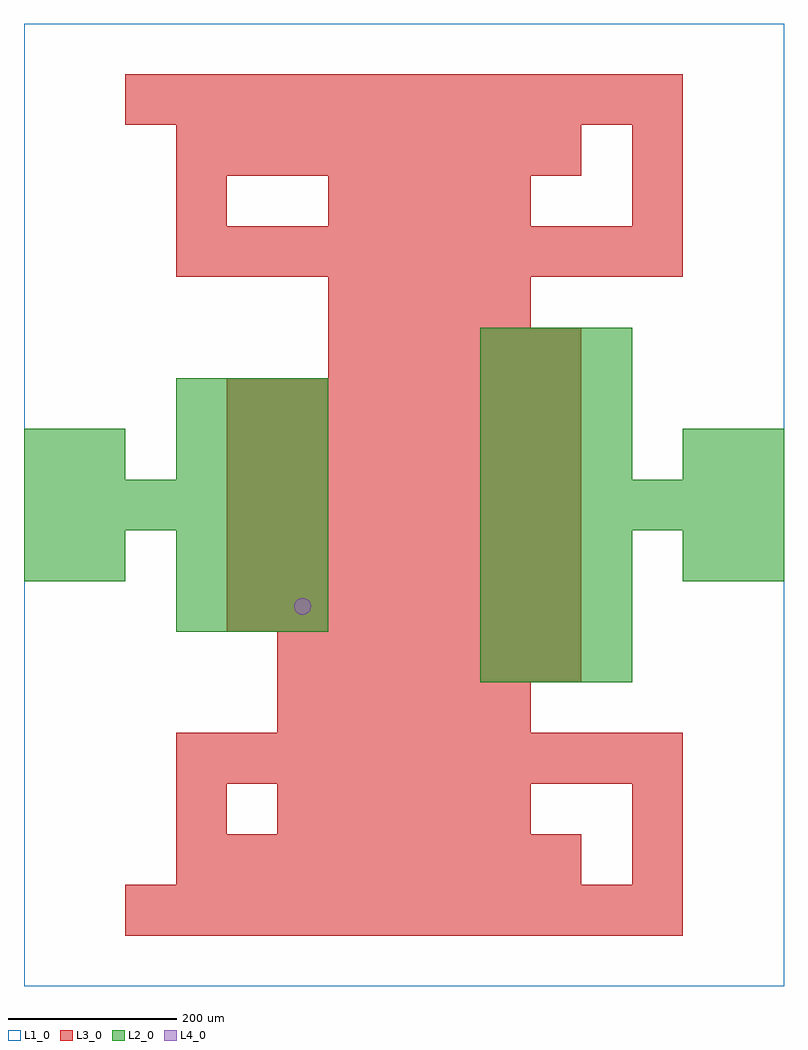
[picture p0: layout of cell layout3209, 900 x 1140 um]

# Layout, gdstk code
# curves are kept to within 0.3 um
import gdstk
lib = gdstk.Library(unit=1e-6, precision=1e-09)
def R(c, l, rs):  # rectangles x0, y0, x1, y1
    for r in rs: c.add(gdstk.rectangle(r[:2], r[2:], *l))
def A(c, l, x, y, w, h, nx, ny, dx, dy):  # array of equal rectangles
    R(c, l, [(x+i*dx, y+j*dy, x+i*dx+w, y+j*dy+h) for i in range(nx) for j in range(ny)])
def P(c, l, *ps):  # polygons
    for p in ps: c.add(gdstk.Polygon(p, *l))
L1_0 = (1, 0)
L2_0 = (2, 0)
L3_0 = (3, 0)
L4_0 = (4, 0)

layout3209 = lib.new_cell('layout3209')
R(layout3209, L1_0, [(0,0,900,1140)])
A(layout3209, L2_0, 540, 360, 60, 60, 3, 3, 60, 60)
A(layout3209, L2_0, 180, 420, 60, 60, 3, 2, 60, 60)
A(layout3209, L2_0, 0, 540, 60, 60, 6, 1, 60, 0)
A(layout3209, L2_0, 540, 540, 60, 60, 6, 1, 60, 0)
A(layout3209, L2_0, 180, 600, 60, 60, 3, 2, 60, 60)
A(layout3209, L2_0, 540, 600, 60, 60, 3, 3, 60, 60)
R(layout3209, L2_0, [(0,480,60,540), (60,480,120,540), (780,480,840,540), (840,480,900,540), (0,600,60,660), (60,600,120,660), (780,600,840,660), (840,600,900,660)])
A(layout3209, L3_0, 120, 60, 60, 60, 11, 2, 60, 960)
A(layout3209, L3_0, 180, 120, 60, 60, 8, 2, 60, 840)
A(layout3209, L3_0, 300, 180, 60, 60, 5, 2, 60, 120)
A(layout3209, L3_0, 180, 240, 60, 60, 10, 2, 60, 600)
A(layout3209, L3_0, 300, 360, 60, 60, 6, 1, 60, 0)
A(layout3209, L3_0, 240, 420, 60, 60, 7, 5, 60, 60)
A(layout3209, L3_0, 360, 720, 60, 60, 5, 1, 60, 0)
A(layout3209, L3_0, 360, 780, 60, 60, 4, 2, 60, 120)
R(layout3209, L3_0, [(720,120,780,180), (180,180,240,240), (720,180,780,240), (180,900,240,960), (720,900,780,960), (720,960,780,1020)])
P(layout3209, L4_0, [(340,450),(339.239,453.827),(337.071,457.071),(333.827,459.239),(330,460),(326.173,459.239),(322.929,457.071),(320.761,453.827),(320,450),(320.761,446.173),(322.929,442.929),(326.173,440.761),(330,440),(333.827,440.761),(337.071,442.929),(339.239,446.173)])

lib.write_gds('layout3209.gds')
